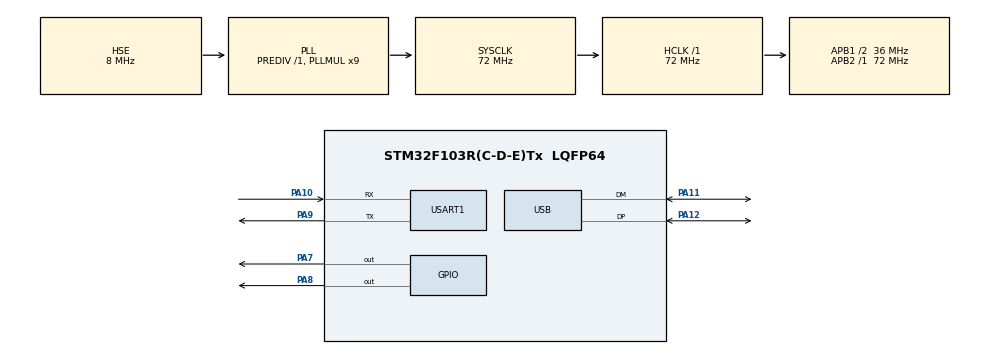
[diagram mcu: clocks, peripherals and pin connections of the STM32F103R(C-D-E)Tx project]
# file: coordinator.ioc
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Dma.Request0=USART1_RX
Dma.Request1=USART1_TX
Dma.USART1_RX.0.Direction=DMA_PERIPH_TO_MEMORY
Dma.USART1_RX.0.Instance=DMA1_Channel5
Dma.USART1_RX.0.MemDataAlignment=DMA_MDATAALIGN_BYTE
Dma.USART1_RX.0.MemInc=DMA_MINC_ENABLE
Dma.USART1_RX.0.Mode=DMA_NORMAL
Dma.USART1_RX.0.PeriphDataAlignment=DMA_PDATAALIGN_BYTE
Dma.USART1_RX.0.PeriphInc=DMA_PINC_DISABLE
Dma.USART1_RX.0.Priority=DMA_PRIORITY_LOW
Dma.USART1_TX.1.Direction=DMA_MEMORY_TO_PERIPH
Dma.USART1_TX.1.Instance=DMA1_Channel4
Dma.USART1_TX.1.MemDataAlignment=DMA_MDATAALIGN_BYTE
Dma.USART1_TX.1.MemInc=DMA_MINC_ENABLE
Dma.USART1_TX.1.Mode=DMA_NORMAL
Dma.USART1_TX.1.PeriphDataAlignment=DMA_PDATAALIGN_BYTE
Dma.USART1_TX.1.PeriphInc=DMA_PINC_DISABLE
Dma.USART1_TX.1.Priority=DMA_PRIORITY_LOW
Mcu.Family=STM32F1
Mcu.Name=STM32F103R(C-D-E)Tx
Mcu.Package=LQFP64
NVIC.DMA1_Channel4_IRQn=true\:0\:0\:false\:false\:true\:false\:true\:true
NVIC.DMA1_Channel5_IRQn=true\:0\:0\:false\:false\:true\:false\:true\:true
NVIC.PriorityGroup=NVIC_PRIORITYGROUP_4
NVIC.USB_LP_CAN1_RX0_IRQn=true\:0\:0\:false\:false\:true\:false\:true\:true
PA10.Mode=Asynchronous
PA10.Signal=USART1_RX
PA11.Mode=Device
PA11.Signal=USB_DM
PA12.Mode=Device
PA12.Signal=USB_DP
PA13.Mode=Serial_Wire
PA13.Signal=SYS_JTMS-SWDIO
PA14.Mode=Serial_Wire
PA14.Signal=SYS_JTCK-SWCLK
PA7.Signal=GPIO_Output
PA8.Signal=GPIO_Output
PA9.Mode=Asynchronous
PA9.Signal=USART1_TX
PC14-OSC32_IN.Mode=LSE-External-Oscillator
PC14-OSC32_IN.Signal=RCC_OSC32_IN
PC15-OSC32_OUT.Mode=LSE-External-Oscillator
PC15-OSC32_OUT.Signal=RCC_OSC32_OUT
PD0-OSC_IN.Mode=HSE-External-Oscillator
PD0-OSC_IN.Signal=RCC_OSC_IN
PD1-OSC_OUT.Mode=HSE-External-Oscillator
PD1-OSC_OUT.Signal=RCC_OSC_OUT
ProjectManager.HeapSize=0x200
ProjectManager.StackSize=0x400
ProjectManager.TargetToolchain=STM32CubeIDE
RCC.AHBFreq_Value=72000000
RCC.APB1CLKDivider=RCC_HCLK_DIV2
RCC.APB1Freq_Value=36000000
RCC.APB1TimFreq_Value=72000000
RCC.APB2Freq_Value=72000000
RCC.APB2TimFreq_Value=72000000
RCC.HCLKFreq_Value=72000000
RCC.PLLMUL=RCC_PLL_MUL9
RCC.RTCClockSelection=RCC_RTCCLKSOURCE_LSE
RCC.SYSCLKFreq_VALUE=72000000
RCC.SYSCLKSource=RCC_SYSCLKSOURCE_PLLCLK
RCC.USBFreq_Value=48000000
RCC.USBPrescaler=RCC_USBCLKSOURCE_PLL_DIV1_5
RTC.Format=RTC_FORMAT_BIN
USART1.VirtualMode=VM_ASYNC
USB_DEVICE.CLASS_NAME_FS=CDC
USB_DEVICE.VirtualMode=Cdc
USB_DEVICE.VirtualModeFS=Cdc_FS
VP_RTC_VS_RTC_Activate.Mode=RTC_Enabled
VP_RTC_VS_RTC_Calendar.Mode=RTC_Calendar
VP_USB_DEVICE_VS_USB_DEVICE_CDC_FS.Mode=CDC_FS
board=custom

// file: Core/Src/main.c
/* USER CODE BEGIN Header */
/**
 ******************************************************************************
 * @file           : main.c
 * @brief          : Main program body
 ******************************************************************************
 * @attention
 *
 * Copyright (c) 2024 STMicroelectronics.
 * All rights reserved.
 *
 * This software is licensed under terms that can be found in the LICENSE file
 * in the root directory of this software component.
 * If no LICENSE file comes with this software, it is provided AS-IS.
 *
 ******************************************************************************
 */
/* USER CODE END Header */
#include "main.h"
#include "usb_device.h"

/* USER CODE BEGIN Includes */
#include "zigbee/zigbee.h"
#include "uart_driver/uart_driver.h"
#include "usbd_cdc_if.h";
/* USER CODE END Includes */

RTC_HandleTypeDef hrtc;

UART_HandleTypeDef huart1;
DMA_HandleTypeDef hdma_usart1_rx;
DMA_HandleTypeDef hdma_usart1_tx;

/* USER CODE BEGIN PV */
uart_handle_t zigbee_usart;
extern zigbee_driver_t zigbee_driver;

bool flag_received_data = false;
/* USER CODE END PV */

void SystemClock_Config(void);
static void MX_GPIO_Init(void);
static void MX_DMA_Init(void);
static void MX_RTC_Init(void);
static void MX_USART1_UART_Init(void);

int main(void)
{

  /* MCU Configuration--------------------------------------------------------*/

  /* Reset of all peripherals, Initializes the Flash interface and the Systick. */
  HAL_Init();

  /* Configure the system clock */
  SystemClock_Config();

  /* Initialize all configured peripherals */
  MX_GPIO_Init();
  MX_DMA_Init();
  MX_RTC_Init();
  MX_USART1_UART_Init();
  MX_USB_DEVICE_Init();
  /* USER CODE BEGIN 2 */
    init_uart(&zigbee_usart, &huart1);
    start_rx(&zigbee_usart);
    init_zigbee(&zigbee_driver, set_input_packet);

    uart_packet_t temp_packet;

    char str_usb[20];
    sprintf(str_usb, "USB Test/r/n");
  /* USER CODE END 2 */

  /* Infinite loop */
  /* USER CODE BEGIN WHILE */
    while (1) {
        if (!flag_received_data)
            cmd_read_params(&zigbee_driver);

        CDC_Transmit_FS((unsigned char*)str_usb, strlen(str_usb));
        if (ring_get_packets_count(&zigbee_usart.input_ring_buffer)) {
            flag_received_data = true;
            ring_get_last_and_clear(&zigbee_usart.input_ring_buffer, &temp_packet);
            zigbee_driver.callback(temp_packet.packet, temp_packet.length);
        }
        HAL_Delay(500);
    /* USER CODE END WHILE */

    }
}

void SystemClock_Config(void)
{
  RCC_OscInitTypeDef RCC_OscInitStruct = {0};
  RCC_ClkInitTypeDef RCC_ClkInitStruct = {0};
  RCC_PeriphCLKInitTypeDef PeriphClkInit = {0};

  /** Initializes the RCC Oscillators according to the specified parameters
  * in the RCC_OscInitTypeDef structure.
  */
  RCC_OscInitStruct.OscillatorType = RCC_OSCILLATORTYPE_HSE|RCC_OSCILLATORTYPE_LSE;
  RCC_OscInitStruct.HSEState = RCC_HSE_ON;
  RCC_OscInitStruct.HSEPredivValue = RCC_HSE_PREDIV_DIV1;
  RCC_OscInitStruct.LSEState = RCC_LSE_ON;
  RCC_OscInitStruct.HSIState = RCC_HSI_ON;
  RCC_OscInitStruct.PLL.PLLState = RCC_PLL_ON;
  RCC_OscInitStruct.PLL.PLLSource = RCC_PLLSOURCE_HSE;
  RCC_OscInitStruct.PLL.PLLMUL = RCC_PLL_MUL9;
  if (HAL_RCC_OscConfig(&RCC_OscInitStruct) != HAL_OK)
  {
    Error_Handler();
  }

  /** Initializes the CPU, AHB and APB buses clocks
  */
  RCC_ClkInitStruct.ClockType = RCC_CLOCKTYPE_HCLK|RCC_CLOCKTYPE_SYSCLK
                              |RCC_CLOCKTYPE_PCLK1|RCC_CLOCKTYPE_PCLK2;
  RCC_ClkInitStruct.SYSCLKSource = RCC_SYSCLKSOURCE_PLLCLK;
  RCC_ClkInitStruct.AHBCLKDivider = RCC_SYSCLK_DIV1;
  RCC_ClkInitStruct.APB1CLKDivider = RCC_HCLK_DIV2;
  RCC_ClkInitStruct.APB2CLKDivider = RCC_HCLK_DIV1;

  if (HAL_RCC_ClockConfig(&RCC_ClkInitStruct, FLASH_LATENCY_2) != HAL_OK)
  {
    Error_Handler();
  }
  PeriphClkInit.PeriphClockSelection = RCC_PERIPHCLK_RTC|RCC_PERIPHCLK_USB;
  PeriphClkInit.RTCClockSelection = RCC_RTCCLKSOURCE_LSE;
  PeriphClkInit.UsbClockSelection = RCC_USBCLKSOURCE_PLL_DIV1_5;
  if (HAL_RCCEx_PeriphCLKConfig(&PeriphClkInit) != HAL_OK)
  {
    Error_Handler();
  }
}

static void MX_RTC_Init(void)
{

  RTC_TimeTypeDef sTime = {0};
  RTC_DateTypeDef DateToUpdate = {0};

  /** Initialize RTC Only
  */
  hrtc.Instance = RTC;
  hrtc.Init.AsynchPrediv = RTC_AUTO_1_SECOND;
  hrtc.Init.OutPut = RTC_OUTPUTSOURCE_ALARM;
  if (HAL_RTC_Init(&hrtc) != HAL_OK)
  {
    Error_Handler();
  }

  /** Initialize RTC and set the Time and Date
  */
  sTime.Hours = 0;
  sTime.Minutes = 0;
  sTime.Seconds = 0;

  if (HAL_RTC_SetTime(&hrtc, &sTime, RTC_FORMAT_BIN) != HAL_OK)
  {
    Error_Handler();
  }
  DateToUpdate.WeekDay = RTC_WEEKDAY_MONDAY;
  DateToUpdate.Month = RTC_MONTH_JANUARY;
  DateToUpdate.Date = 1;
  DateToUpdate.Year = 0;

  if (HAL_RTC_SetDate(&hrtc, &DateToUpdate, RTC_FORMAT_BIN) != HAL_OK)
  {
    Error_Handler();
  }

}

static void MX_USART1_UART_Init(void)
{

  huart1.Instance = USART1;
  huart1.Init.BaudRate = 115200;
  huart1.Init.WordLength = UART_WORDLENGTH_8B;
  huart1.Init.StopBits = UART_STOPBITS_1;
  huart1.Init.Parity = UART_PARITY_NONE;
  huart1.Init.Mode = UART_MODE_TX_RX;
  huart1.Init.HwFlowCtl = UART_HWCONTROL_NONE;
  huart1.Init.OverSampling = UART_OVERSAMPLING_16;
  if (HAL_UART_Init(&huart1) != HAL_OK)
  {
    Error_Handler();
  }

}

static void MX_DMA_Init(void)
{

  /* DMA controller clock enable */
  __HAL_RCC_DMA1_CLK_ENABLE();

  /* DMA interrupt init */
  /* DMA1_Channel4_IRQn interrupt configuration */
  HAL_NVIC_SetPriority(DMA1_Channel4_IRQn, 0, 0);
  HAL_NVIC_EnableIRQ(DMA1_Channel4_IRQn);
  /* DMA1_Channel5_IRQn interrupt configuration */
  HAL_NVIC_SetPriority(DMA1_Channel5_IRQn, 0, 0);
  HAL_NVIC_EnableIRQ(DMA1_Channel5_IRQn);

}

static void MX_GPIO_Init(void)
{
  GPIO_InitTypeDef GPIO_InitStruct = {0};

  /* GPIO Ports Clock Enable */
  __HAL_RCC_GPIOC_CLK_ENABLE();
  __HAL_RCC_GPIOD_CLK_ENABLE();
  __HAL_RCC_GPIOA_CLK_ENABLE();

  /*Configure GPIO pin Output Level */
  HAL_GPIO_WritePin(GPIOA, GPIO_PIN_7|GPIO_PIN_8, GPIO_PIN_RESET);

  /*Configure GPIO pins : PA7 PA8 */
  GPIO_InitStruct.Pin = GPIO_PIN_7|GPIO_PIN_8;
  GPIO_InitStruct.Mode = GPIO_MODE_OUTPUT_PP;
  GPIO_InitStruct.Pull = GPIO_NOPULL;
  GPIO_InitStruct.Speed = GPIO_SPEED_FREQ_LOW;
  HAL_GPIO_Init(GPIOA, &GPIO_InitStruct);

}

void Error_Handler(void)
{
    __disable_irq();
    while (1) {}
}
